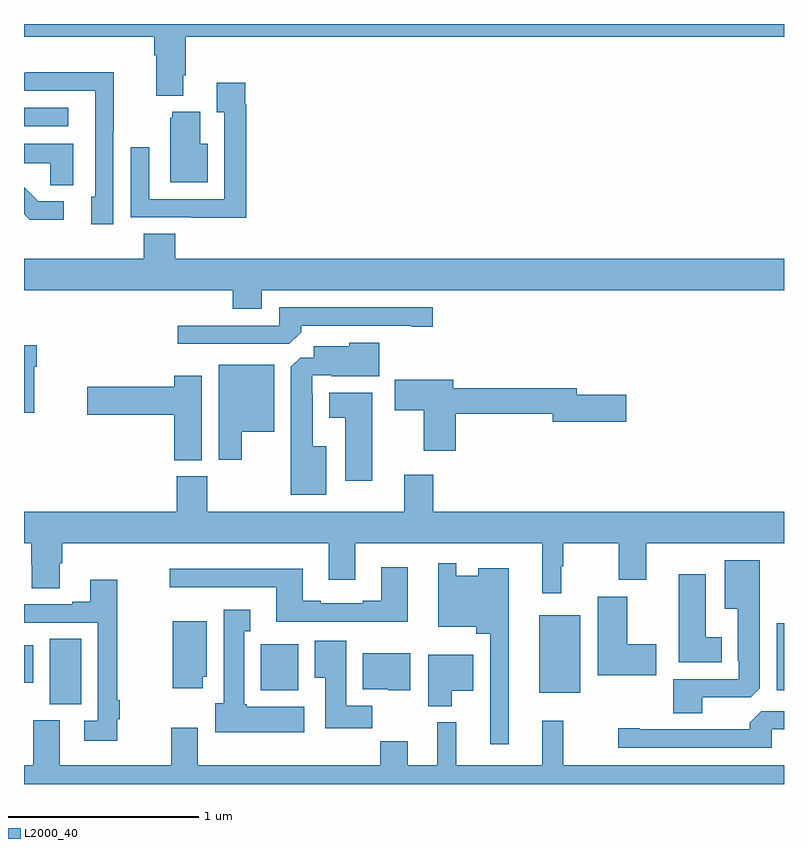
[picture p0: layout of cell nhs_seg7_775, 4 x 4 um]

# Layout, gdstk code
import gdstk
lib = gdstk.Library(unit=1e-6, precision=1e-09)
def R(c, l, rs):  # rectangles x0, y0, x1, y1
    for r in rs: c.add(gdstk.rectangle(r[:2], r[2:], *l))
def P(c, l, *ps):  # polygons
    for p in ps: c.add(gdstk.Polygon(p, *l))
L2000_40 = (2000, 40)

nhs_seg7_775 = lib.new_cell('nhs_seg7_775')
R(nhs_seg7_775, L2000_40, [(169.136,1014.421,169.3,1014.764), (171.713,1014.479,171.928,1014.889), (170.246,1014.494,170.443,1014.736), (172.961,1014.494,173,1014.847), (169,1014.533,169.048,1014.73), (169,1017.462,169.234,1017.558)])
P(nhs_seg7_775, L2000_40, [(169.837,1017.73),(169.85,1017.73),(169.85,1017.932),(173,1017.932),(173,1018),(169,1018),(169,1017.932),(169.685,1017.932),(169.685,1017.836),(169.697,1017.836),(169.697,1017.623),(169.837,1017.623)],
  [(169.47,1017.439),(169.473,1017.439),(169.473,1017.746),(169.009,1017.746),(169.009,1017.744),(169,1017.744),(169,1017.648),(169.374,1017.648),(169.374,1017.09),(169.355,1017.09),(169.355,1016.946),(169.47,1016.946)],
  [(170.171,1017.578),(170.164,1017.578),(170.164,1017.691),(170.015,1017.691),(170.015,1017.535),(170.055,1017.535),(170.055,1017.078),(169.659,1017.078),(169.659,1017.352),(169.563,1017.352),(169.563,1016.982),(169.879,1016.982),(169.879,1016.981),(170.171,1016.981)],
  [(169.966,1017.37),(169.927,1017.37),(169.927,1017.538),(169.781,1017.538),(169.781,1017.507),(169.769,1017.507),(169.769,1017.167),(169.966,1017.167)],
  [(169.258,1017.37),(169,1017.37),(169,1017.266),(169.137,1017.266),(169.137,1017.151),(169.258,1017.151)],
  [(169.21,1017.066),(169.075,1017.066),(169,1017.141),(169,1017),(169.031,1016.969),(169.21,1016.969)],
  [(170.251,1016.6),(173,1016.6),(173,1016.764),(169.796,1016.764),(169.796,1016.897),(169.631,1016.897),(169.631,1016.764),(169,1016.764),(169,1016.6),(170.099,1016.6),(170.099,1016.501),(170.251,1016.501)],
  [(170.459,1016.378),(170.459,1016.412),(171.038,1016.412),(171.038,1016.407),(171.151,1016.407),(171.151,1016.508),(170.343,1016.508),(170.343,1016.412),(169.809,1016.412),(169.809,1016.316),(170.397,1016.316)],
  [(170.59,1015.777),(170.521,1015.777),(170.521,1016.051),(170.517,1016.051),(170.517,1016.151),(170.617,1016.151),(170.617,1016.147),(170.869,1016.147),(170.869,1016.323),(170.712,1016.323),(170.712,1016.305),(170.525,1016.305),(170.525,1016.244),(170.454,1016.244),(170.405,1016.195),(170.405,1015.523),(170.59,1015.523)],
  [(169.054,1016.195),(169.067,1016.195),(169.067,1016.308),(169,1016.308),(169,1015.955),(169.054,1015.955)],
  [(170.146,1015.853),(170.317,1015.853),(170.317,1016.206),(170.024,1016.206),(170.024,1015.707),(170.146,1015.707)],
  [(169.936,1016.149),(169.79,1016.149),(169.79,1016.09),(169.332,1016.09),(169.332,1015.943),(169.79,1015.943),(169.79,1015.705),(169.936,1015.705)],
  [(171.272,1015.948),(171.782,1015.948),(171.782,1015.906),(172.171,1015.906),(172.171,1016.048),(171.91,1016.048),(171.91,1016.084),(171.259,1016.084),(171.259,1016.128),(170.952,1016.128),(170.952,1015.966),(171.104,1015.966),(171.104,1015.755),(171.272,1015.755)],
  [(170.833,1016.059),(170.606,1016.059),(170.606,1015.928),(170.69,1015.928),(170.69,1015.596),(170.833,1015.596)],
  [(171.827,1015.145),(171.838,1015.145),(171.838,1015.268),(172.129,1015.268),(172.129,1015.074),(172.276,1015.074),(172.276,1015.268),(173,1015.268),(173,1015.432),(171.155,1015.432),(171.155,1015.627),(171.002,1015.627),(171.002,1015.432),(169.965,1015.432),(169.965,1015.62),(169.805,1015.62),(169.805,1015.432),(169,1015.432),(169,1015.268),(169.037,1015.268),(169.037,1015.155),(169.042,1015.155),(169.042,1015.03),(169.189,1015.03),(169.189,1015.162),(169.202,1015.162),(169.202,1015.268),(170.603,1015.268),(170.603,1015.074),(170.743,1015.074),(170.743,1015.268),(171.728,1015.268),(171.728,1015.005),(171.827,1015.005)],
  [(172.57,1014.456),(172.824,1014.456),(172.873,1014.505),(172.873,1015.177),(172.688,1015.177),(172.688,1014.923),(172.757,1014.923),(172.757,1014.649),(172.761,1014.649),(172.761,1014.552),(172.418,1014.552),(172.418,1014.373),(172.57,1014.373)],
  [(171.55,1015.135),(171.392,1015.135),(171.392,1015.096),(171.276,1015.096),(171.276,1015.162),(171.18,1015.162),(171.18,1014.827),(171.38,1014.827),(171.38,1014.791),(171.453,1014.791),(171.453,1014.21),(171.55,1014.21)],
  [(171.019,1015.141),(170.879,1015.141),(170.879,1014.964),(170.783,1014.964),(170.783,1014.951),(170.563,1014.951),(170.563,1014.964),(170.467,1014.964),(170.467,1015.132),(169.767,1015.132),(169.767,1015.035),(170.327,1015.035),(170.327,1014.855),(170.787,1014.855),(170.787,1014.854),(171.019,1014.854)],
  [(172.672,1014.772),(172.588,1014.772),(172.588,1015.105),(172.445,1015.105),(172.445,1014.641),(172.672,1014.641)],
  [(169.49,1014.34),(169.505,1014.34),(169.505,1014.44),(169.49,1014.44),(169.49,1015.075),(169.349,1015.075),(169.349,1014.958),(169.253,1014.958),(169.253,1014.945),(169,1014.945),(169,1014.849),(169.389,1014.849),(169.389,1014.333),(169.317,1014.333),(169.317,1014.228),(169.49,1014.228)],
  [(172.327,1014.735),(172.174,1014.735),(172.174,1014.985),(172.019,1014.985),(172.019,1014.572),(172.327,1014.572)],
  [(170.476,1014.406),(170.172,1014.406),(170.172,1014.42),(170.158,1014.42),(170.158,1014.803),(170.191,1014.803),(170.191,1014.916),(170.051,1014.916),(170.051,1014.426),(170.006,1014.426),(170.006,1014.272),(170.476,1014.272)],
  [(169.942,1014.564),(169.963,1014.564),(169.963,1014.856),(169.784,1014.856),(169.784,1014.504),(169.942,1014.504)],
  [(170.834,1014.412),(170.695,1014.412),(170.695,1014.754),(170.531,1014.754),(170.531,1014.56),(170.585,1014.56),(170.585,1014.294),(170.834,1014.294)],
  [(171.034,1014.688),(170.783,1014.688),(170.783,1014.5),(170.916,1014.5),(170.916,1014.494),(171.034,1014.494)],
  [(171.25,1014.491),(171.364,1014.491),(171.364,1014.679),(171.128,1014.679),(171.128,1014.41),(171.25,1014.41)],
  [(172.935,1014.288),(173,1014.288),(173,1014.384),(172.881,1014.384),(172.82,1014.322),(172.82,1014.288),(172.24,1014.288),(172.24,1014.293),(172.128,1014.293),(172.128,1014.192),(172.935,1014.192)],
  [(173,1014.1),(171.838,1014.1),(171.838,1014.334),(171.728,1014.334),(171.728,1014.1),(171.275,1014.1),(171.275,1014.325),(171.176,1014.325),(171.176,1014.1),(171.019,1014.1),(171.019,1014.224),(170.875,1014.224),(170.875,1014.1),(169.915,1014.1),(169.915,1014.295),(169.775,1014.295),(169.775,1014.1),(169.189,1014.1),(169.189,1014.336),(169.049,1014.336),(169.049,1014.1),(169,1014.1),(169,1014),(173,1014)])

lib.write_gds('nhs_seg7_775.gds')
